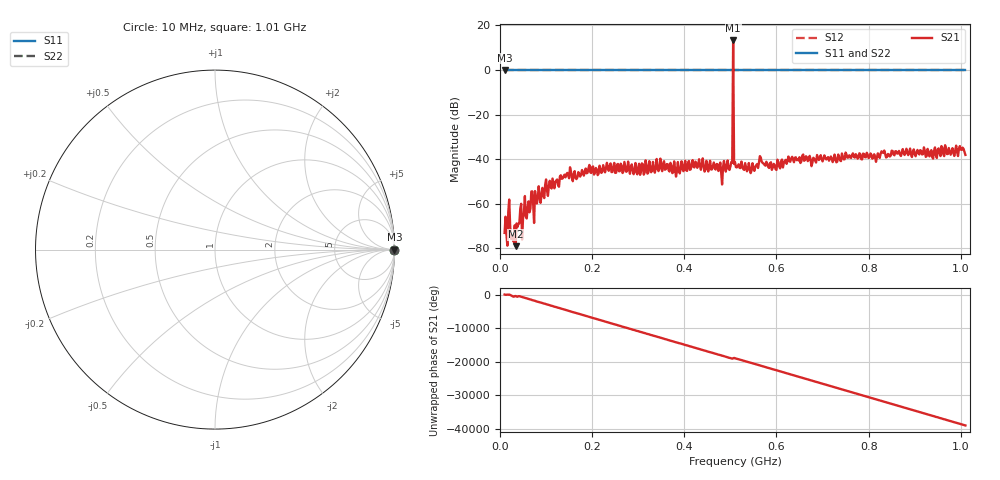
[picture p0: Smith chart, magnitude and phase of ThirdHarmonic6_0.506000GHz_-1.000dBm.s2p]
! 8/15/2025 3:19:58 PM
! C:\ANRITSUVNA\TEMP\TEMP.S2P
! CHANNEL.1
! TR.MEASUREMENT
! RAW.DATA
! RF.CORRECTION.OFF
! AVERAGING.OFF
! IF.BANDWIDTH: 5KHZ
! SWEEPTYPE:  FREQ.SWEEP(Linear)
! Reference Plane Port Info
! PORT:  PORT1  PORT2
! DISTANCE:  0  m  0  m
! TIME:  0  s  0  s
! PHASE.OFFSET:  0  deg.  0  deg.
! LOSS:  0  dB  0  dB
! REF.LOSS:  0  dB  0  dB
! REF.FREQ:  0  Hz  0  Hz
! Power Info
! POWER:  -20  dBm  -20  dBm
! EFF.POWER:  -20  dBm  -20  dBm
! SOURCE.ATTEN:  0  dB  0  dB
! TEST.ATTEN:  0  dB  0  dB
# GHZ S RI R 50.0
! FREQ.GHZ  S11RE  S11IM  S21RE  S21IM  S12RE  S12IM  S22RE  S22IM
!; PortSelection: Port_12
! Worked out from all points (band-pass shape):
!   501 points, 10 MHz to 1.01 GHz, reference 50 ohm
!   highest |S21| = 13.24 dB at 506 MHz (marker M1); lowest = -79.0 dB at 34 MHz (marker M2)
!   |S21| within 3 dB of the highest: 505.8905 MHz to 506.1083 MHz (217.9 kHz wide, 0.0431 % of centre)
!   lowest |S11| = 0.0 dB at 10 MHz (marker M3)
!   |S11| at or under -10 dB: nowhere
!   |S22| runs from 0.0 to 0.0 dB; largest |S21 - S12| = 5.5
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0.01  1 0  -4.66e-05 0.000218  1 0  1 0
0.022  1 0  0.000318 -4.9e-06  1 0  1 0
0.026  1 0  0.000156 0.000121  1 0  1 0
0.034  1 0  0.000105 4.16e-05  1 0  1 0
0.042  1 0  0.000328 -0.000163  1 0  1 0
0.06  1 0  0.000677 -0.000456  1 0  1 0
0.066  1 0  0.000352 0.000698  1 0  1 0
0.076  1 0  0.00168 0.000959  1 0  1 0
0.08  1 0  -0.000998 -0.000212  1 0  1 0
0.15  1 0  -0.00175 -0.00331  1 0  1 0
0.178  1 0  -0.00534 -0.00205  1 0  1 0
0.344  1 0  0.00541 0.000157  1 0  1 0
0.436  1 0  -0.000249 -0.0058  1 0  1 0
0.478  1 0  0.00717 0.0044  1 0  1 0
0.5  1 0  -0.00372 -0.00578  1 0  1 0
0.502  1 0  -0.00723 0.00473  1 0  1 0
0.506  1 0  -3.99 2.27  1 0  1 0
0.51  1 0  -0.00857 -6.91e-05  1 0  1 0
0.512  1 0  -0.00129 0.00653  1 0  1 0
0.678  1 0  0.00444 -0.00718  1 0  1 0
0.844  1 0  -0.00572 0.0114  1 0  1 0
1.01  1 0  0.00576 -0.0111  1 0  1 0
